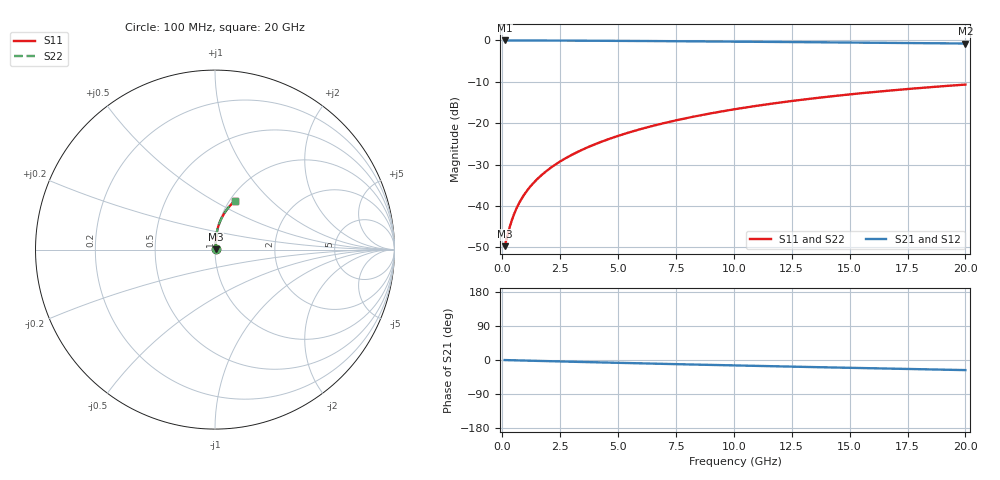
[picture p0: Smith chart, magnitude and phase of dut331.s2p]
! Touchstone file exported from HFSS 2024.1.0
!  File:  C:/UserFiles/LocalFiles/RDL_TSV_Batchsim/temp_RDL_bottom_331_1779611482.aedt
!  Generated:  04:34:14 PM May 24, 2026
!  Design:  RDL_bottom
!  Project:  temp_RDL_bottom_331_1779611482
!  Setup:  Setup1
!  Solution:  Sweep
! Variables:
!  dtsv = 10.80580581um
!  hbump = 3um
!  htsv = 57.59um
!  ldown = 330.43um
!  lrdl = 100um
!  p = 40
!  p1 = 50.23um
!  rhole = 1um
!  t = 450um
!  tdown = 2.2um
!  trdl = 3.915915916um
!  wdown = 20.52um
!  wrdl = 20um
# GHz S MA R 50.000000
! Terminal data exported
! Port[1] = RDL1_T1
! Port[2] = RDL1_T2
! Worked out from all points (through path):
!   200 points, 100 MHz to 20 GHz, reference 50 ohm
!   highest |S21| = -0.03 dB at 100 MHz (marker M1); lowest = -0.8 dB at 20 GHz (marker M2)
!   group delay of S21, straight-line fit = 3.68 ps
!   lowest |S11| = -49.7 dB at 100 MHz (marker M3), VSWR 1.01, Z = 50.3 + j0.148 ohm
!   |S11| at or under -10 dB: start of sweep to end of sweep
!   |S22| runs from -49.7 to -10.7 dB; largest |S21 - S12| = 3e-15
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0.1  0.003281 26.7  0.9971 -0.2  0.9971 -0.2  0.003281 26.7
! Gamma 0 0 0 0
! Port Impedance 50 0 50 0
0.3  0.005334 55.3  0.9969 -0.5  0.9969 -0.5  0.005334 55.3
0.4  0.006591 61.8  0.9968 -0.6  0.9968 -0.6  0.006591 61.8
0.5  0.007887 66.1  0.9967 -0.8  0.9967 -0.8  0.007887 66.1
0.6  0.009197 69.1  0.9965 -0.9  0.9965 -0.9  0.009196 69.1
0.7  0.01051 71.4  0.9964 -1.1  0.9964 -1.1  0.01051 71.3
0.9  0.01313 74.6  0.9961 -1.4  0.9961 -1.4  0.01313 74.6
1.2  0.01707 77.7  0.9957 -1.9  0.9957 -1.9  0.01707 77.7
1.4  0.01972 79.1  0.9954 -2.2  0.9954 -2.2  0.01971 79.1
1.7  0.02371 80.7  0.995 -2.6  0.995 -2.6  0.0237 80.7
2.2  0.03045 82.5  0.9941 -3.4  0.9941 -3.4  0.03045 82.5
2.8  0.03869 83.8  0.9927 -4.3  0.9927 -4.3  0.03869 83.8
3.5  0.04852 84.6  0.9909 -5.3  0.9909 -5.3  0.04852 84.6
4.2  0.05857 84.9  0.9888 -6.3  0.9888 -6.3  0.05857 84.9
5  0.0703 84.9  0.9861 -7.5  0.9861 -7.5  0.0703 84.9
5.9  0.08376 84.6  0.9827 -8.7  0.9827 -8.7  0.08377 84.6
6.8  0.09745 84.0  0.9792 -10.0  0.9792 -10.0  0.09746 84.0
8.4  0.1221 82.6  0.9724 -12.2  0.9724 -12.2  0.1221 82.6
10.1  0.1485 80.7  0.9649 -14.4  0.9649 -14.4  0.1485 80.7
13.4  0.1989 76.5  0.9494 -18.7  0.9494 -18.7  0.1989 76.5
16.7  0.2472 72.2  0.933 -22.7  0.933 -22.7  0.2473 72.2
20  0.2927 68.0  0.9159 -26.7  0.9159 -26.7  0.2928 68.0
